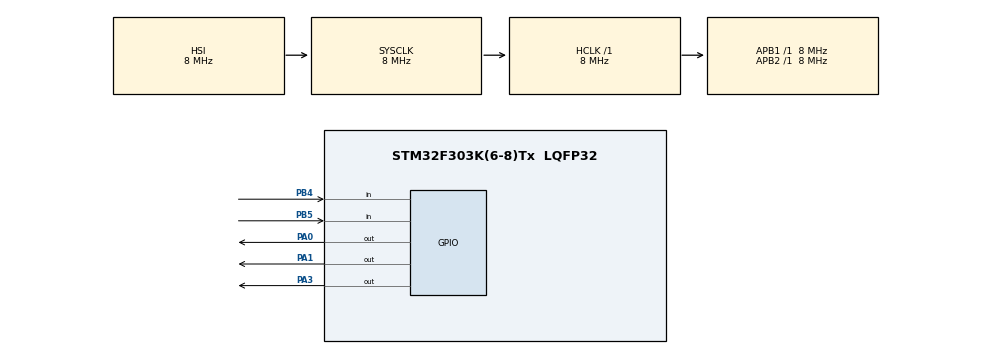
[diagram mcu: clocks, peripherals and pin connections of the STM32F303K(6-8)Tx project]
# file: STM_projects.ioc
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FREERTOS.Tasks01=defaultTask,24,128,StartDefaultTask,Default,NULL,Dynamic,NULL,NULL
Mcu.Family=STM32F3
Mcu.Name=STM32F303K(6-8)Tx
Mcu.Package=LQFP32
NVIC.PriorityGroup=NVIC_PRIORITYGROUP_4
PA0.Signal=GPIO_Output
PA1.Signal=GPIO_Output
PA3.Signal=GPIO_Output
PB4.Signal=GPIO_Input
PB5.Signal=GPIO_Input
ProjectManager.HeapSize=0x200
ProjectManager.StackSize=0x400
ProjectManager.TargetToolchain=Makefile
RCC.AHBFreq_Value=8000000
RCC.APB1Freq_Value=8000000
RCC.APB2Freq_Value=8000000
RCC.CortexFreq_Value=8000000
RCC.HSE_VALUE=8000000
RCC.HSI_VALUE=8000000
RCC.SYSCLKFreq_VALUE=8000000
VP_FREERTOS_VS_CMSIS_V2.Mode=CMSIS_V2
board=custom

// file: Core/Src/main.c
/* USER CODE BEGIN Header */
/**
  ******************************************************************************
  * @file           : main.c
  * @brief          : Main program body
  ******************************************************************************
  * @attention
  *
  * <h2><center>&copy; Copyright (c) 2021 STMicroelectronics.
  * All rights reserved.</center></h2>
  *
  * This software component is licensed by ST under BSD 3-Clause license,
  * the "License"; You may not use this file except in compliance with the
  * License. You may obtain a copy of the License at:
  *                        opensource.org/licenses/BSD-3-Clause
  *
  ******************************************************************************
  */
/* USER CODE END Header */
#include "main.h"
#include "cmsis_os.h"
#include "gpio.h"

void SystemClock_Config(void);
void MX_FREERTOS_Init(void);

/* USER CODE BEGIN 0 */

void red(void *pvParameters) {
	for (;;) {
    if( HAL_GPIO_ReadPin(GPIOB, GPIO_PIN_4) == GPIO_PIN_RESET ){
		  HAL_GPIO_WritePin(GPIOA, GPIO_PIN_0, GPIO_PIN_SET );
      vTaskDelay( 500 / portTICK_RATE_MS );
    }
    else{
		  HAL_GPIO_WritePin(GPIOA, GPIO_PIN_0, GPIO_PIN_RESET );
      vTaskDelay( 500 / portTICK_RATE_MS );
    }
	}
}
void yellow(void *pvParameters) {
	for (;;) {
    if( HAL_GPIO_ReadPin(GPIOB, GPIO_PIN_5) == GPIO_PIN_RESET ){
		  HAL_GPIO_WritePin(GPIOA, GPIO_PIN_1, GPIO_PIN_SET );
      vTaskDelay( 500 / portTICK_RATE_MS );
    }
    else{
		  HAL_GPIO_WritePin(GPIOA, GPIO_PIN_1, GPIO_PIN_RESET );
      vTaskDelay( 500 / portTICK_RATE_MS );
    }
	}
}
void green(void *pvParameters) {
	for (;;) {
		HAL_GPIO_TogglePin(GPIOA, GPIO_PIN_3);
		vTaskDelay( 1000 / portTICK_RATE_MS );
	}
}

/* USER CODE END 0 */

int main(void)
{

  /* MCU Configuration--------------------------------------------------------*/

  /* Reset of all peripherals, Initializes the Flash interface and the Systick. */
  HAL_Init();

  /* Configure the system clock */
  SystemClock_Config();

  /* Initialize all configured peripherals */
  MX_GPIO_Init();
  /* USER CODE BEGIN 2 */

	xTaskCreate( red, "LEDTask1", 100, NULL, 1, NULL );
	xTaskCreate( yellow, "LEDTask2", 100, NULL, 1, NULL );
	xTaskCreate( green, "LEDTask3", 100, NULL, 1, NULL );

  /* USER CODE END 2 */

  /* Init scheduler */
  osKernelInitialize();  /* Call init function for freertos objects (in freertos.c) */
  MX_FREERTOS_Init();
  /* Start scheduler */
  osKernelStart();

  /* We should never get here as control is now taken by the scheduler */
  /* Infinite loop */
  while (1)
  {

  }
}

void SystemClock_Config(void)
{
  RCC_OscInitTypeDef RCC_OscInitStruct = {0};
  RCC_ClkInitTypeDef RCC_ClkInitStruct = {0};

  /** Initializes the RCC Oscillators according to the specified parameters
  * in the RCC_OscInitTypeDef structure.
  */
  RCC_OscInitStruct.OscillatorType = RCC_OSCILLATORTYPE_HSI;
  RCC_OscInitStruct.HSIState = RCC_HSI_ON;
  RCC_OscInitStruct.HSICalibrationValue = RCC_HSICALIBRATION_DEFAULT;
  RCC_OscInitStruct.PLL.PLLState = RCC_PLL_NONE;
  if (HAL_RCC_OscConfig(&RCC_OscInitStruct) != HAL_OK)
  {
    Error_Handler();
  }
  /** Initializes the CPU, AHB and APB buses clocks
  */
  RCC_ClkInitStruct.ClockType = RCC_CLOCKTYPE_HCLK|RCC_CLOCKTYPE_SYSCLK
                              |RCC_CLOCKTYPE_PCLK1|RCC_CLOCKTYPE_PCLK2;
  RCC_ClkInitStruct.SYSCLKSource = RCC_SYSCLKSOURCE_HSI;
  RCC_ClkInitStruct.AHBCLKDivider = RCC_SYSCLK_DIV1;
  RCC_ClkInitStruct.APB1CLKDivider = RCC_HCLK_DIV1;
  RCC_ClkInitStruct.APB2CLKDivider = RCC_HCLK_DIV1;

  if (HAL_RCC_ClockConfig(&RCC_ClkInitStruct, FLASH_LATENCY_0) != HAL_OK)
  {
    Error_Handler();
  }
}

void Error_Handler(void)
{
  __disable_irq();
  while (1)
  {
  }
}

/************************ (C) COPYRIGHT STMicroelectronics *****END OF FILE****/
